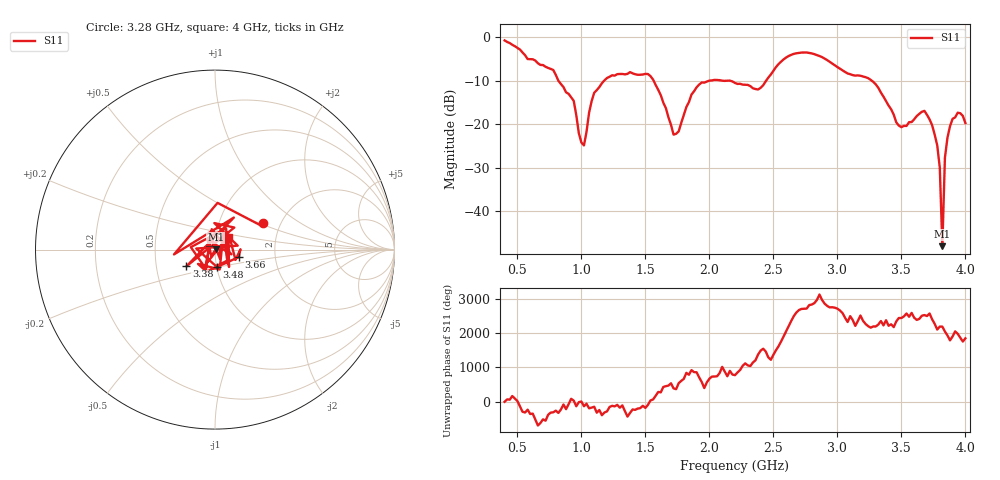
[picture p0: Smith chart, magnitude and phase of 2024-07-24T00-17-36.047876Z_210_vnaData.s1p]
!Created with skrf (http://scikit-rf.org).
# Hz S RI R 50.0
!freq ReS11 ImS11
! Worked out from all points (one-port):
!   181 points, 400 MHz to 4 GHz, reference 50 ohm
!   lowest |S11| = -48.0 dB at 3.82 GHz (marker M1), VSWR 1.01, Z = 50.4 + j0.155 ohm
!   |S11| at or under -10 dB: 819.5 MHz to 1.179 GHz (359 MHz wide, 35.9 % of centre); 1.564 GHz to 2.004 GHz (440 MHz wide, 24.7 % of centre); 3.267 GHz to end of sweep (the widest 3 of 4)
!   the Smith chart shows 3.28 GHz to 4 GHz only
!   S11 on the Smith chart (normalised r, x): 3.28 GHz: 1.62, +0.53; 3.38 GHz: 0.71, -0.14; 3.48 GHz: 1.00, -0.19; 3.66 GHz: 1.30, -0.11; 4 GHz: 1.15, +0.16
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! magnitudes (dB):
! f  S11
! 400 MHz  -0.8
! 860 MHz  -11.5
! 940 MHz  -14.6
! 980 MHz  -22.1
! 1.02 GHz  -24.9
! 1.1 GHz  -12.8
! 1.3 GHz  -8.5
! 1.54 GHz  -9.0
! 1.72 GHz  -22.4
! 1.76 GHz  -21.7
! 1.92 GHz  -10.9
! 2.2 GHz  -10.5
! 2.38 GHz  -12.0
! 2.66 GHz  -3.9
! 3.1 GHz  -8.5
! 3.28 GHz  -10.3
! 3.38 GHz  -14.7
! 3.48 GHz  -20.3
! 3.56 GHz  -19.5
! 3.66 GHz  -17.2
! 3.72 GHz  -18.9
! 3.78 GHz  -24.9
! 3.8 GHz  -30.0
! 3.82 GHz  -48.0
! 3.84 GHz  -27.7
! 3.86 GHz  -23.1
! 3.94 GHz  -17.4
! 4 GHz  -19.8
